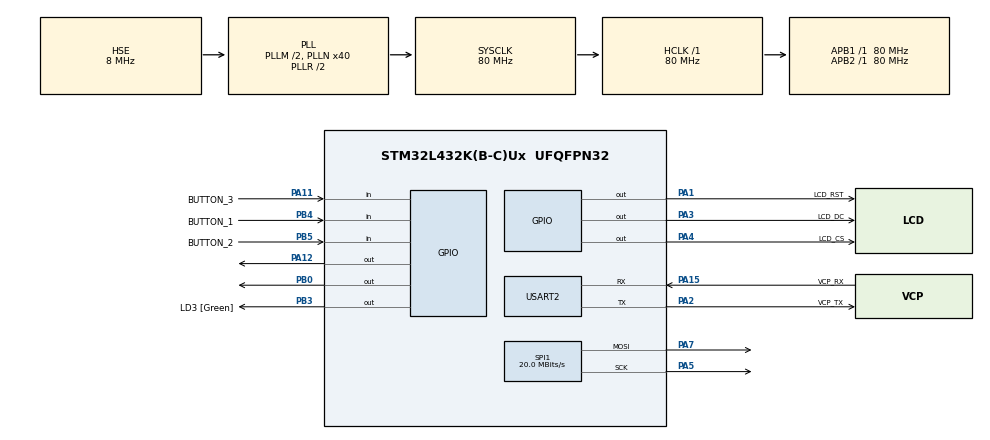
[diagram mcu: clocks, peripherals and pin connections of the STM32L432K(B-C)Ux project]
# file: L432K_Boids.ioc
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Dma.Request0=SPI1_TX
Dma.SPI1_TX.0.Direction=DMA_MEMORY_TO_PERIPH
Dma.SPI1_TX.0.Instance=DMA1_Channel3
Dma.SPI1_TX.0.MemDataAlignment=DMA_MDATAALIGN_BYTE
Dma.SPI1_TX.0.MemInc=DMA_MINC_ENABLE
Dma.SPI1_TX.0.Mode=DMA_NORMAL
Dma.SPI1_TX.0.PeriphDataAlignment=DMA_PDATAALIGN_BYTE
Dma.SPI1_TX.0.PeriphInc=DMA_PINC_DISABLE
Dma.SPI1_TX.0.Priority=DMA_PRIORITY_LOW
FREERTOS.Events01=sync_event,Dynamic,NULL
FREERTOS.INCLUDE_pcTaskGetTaskName=1
FREERTOS.INCLUDE_uxTaskGetStackHighWaterMark=1
FREERTOS.INCLUDE_uxTaskGetStackHighWaterMark2=1
FREERTOS.INCLUDE_xSemaphoreGetMutexHolder=1
FREERTOS.INCLUDE_xTaskAbortDelay=1
FREERTOS.INCLUDE_xTaskGetHandle=1
FREERTOS.Mutexes01=mutex_spi1,Dynamic,NULL,Depleted
FREERTOS.Tasks01=mainTask,24,256,main_task,Default,NULL,Dynamic,NULL,NULL
FREERTOS.Timers01=timer_mainTask,timer_callback,osTimerPeriodic,Default,&timer_mainTaskHandle,Dynamic,NULL
FREERTOS.configCHECK_FOR_STACK_OVERFLOW=0
FREERTOS.configENABLE_BACKWARD_COMPATIBILITY=0
FREERTOS.configENABLE_FPU=1
FREERTOS.configGENERATE_RUN_TIME_STATS=0
FREERTOS.configMAX_PRIORITIES=56
FREERTOS.configMAX_TASK_NAME_LEN=16
FREERTOS.configMINIMAL_STACK_SIZE=128
FREERTOS.configRECORD_STACK_HIGH_ADDRESS=1
FREERTOS.configTIMER_TASK_PRIORITY=32
FREERTOS.configTIMER_TASK_STACK_DEPTH=128
FREERTOS.configTOTAL_HEAP_SIZE=1536
FREERTOS.configUSE_NEWLIB_REENTRANT=1
FREERTOS.configUSE_OS2_THREAD_ENUMERATE=0
FREERTOS.configUSE_STATS_FORMATTING_FUNCTIONS=0
FREERTOS.configUSE_TRACE_FACILITY=0
Mcu.Family=STM32L4
Mcu.Name=STM32L432K(B-C)Ux
Mcu.Package=UFQFPN32
NVIC.DMA1_Channel3_IRQn=true\:5\:0\:false\:false\:true\:true\:true\:true\:true
NVIC.PriorityGroup=NVIC_PRIORITYGROUP_4
NVIC.TIM1_UP_TIM16_IRQn=true\:5\:0\:false\:false\:true\:false\:true\:true\:true
NVIC.TimeBase=TIM1_UP_TIM16_IRQn
NVIC.TimeBaseIP=TIM1
PA0.Mode=HSE-External-Clock-Source-for-LittleOrca
PA0.Signal=RCC_CK_IN
PA1.GPIO_Label=LCD_RST
PA1.Signal=GPIO_Output
PA11.GPIO_Label=BUTTON_3
PA11.GPIO_PuPd=GPIO_PULLUP
PA11.Signal=GPIO_Input
PA12.Signal=GPIO_Output
PA13\ (JTMS-SWDIO).GPIO_Label=SWDIO
PA13\ (JTMS-SWDIO).Mode=Serial_Wire
PA13\ (JTMS-SWDIO).Signal=SYS_JTMS-SWDIO
PA14\ (JTCK-SWCLK).GPIO_Label=SWCLK
PA14\ (JTCK-SWCLK).Mode=Serial_Wire
PA14\ (JTCK-SWCLK).Signal=SYS_JTCK-SWCLK
PA15\ (JTDI).GPIO_Label=VCP_RX
PA15\ (JTDI).Mode=Asynchronous
PA15\ (JTDI).Signal=USART2_RX
PA2.GPIO_Label=VCP_TX
PA2.Mode=Asynchronous
PA2.Signal=USART2_TX
PA3.GPIO_Label=LCD_DC
PA3.GPIO_Speed=GPIO_SPEED_FREQ_VERY_HIGH
PA3.PinState=GPIO_PIN_SET
PA3.Signal=GPIO_Output
PA4.GPIO_Label=LCD_CS
PA4.GPIO_Speed=GPIO_SPEED_FREQ_VERY_HIGH
PA4.PinState=GPIO_PIN_SET
PA4.Signal=GPIO_Output
PA5.Mode=TX_Only_Simplex_Unidirect_Master
PA5.Signal=SPI1_SCK
PA7.Mode=TX_Only_Simplex_Unidirect_Master
PA7.Signal=SPI1_MOSI
PB0.GPIO_ModeDefaultOutputPP=GPIO_MODE_OUTPUT_PP
PB0.GPIO_PuPd=GPIO_NOPULL
PB0.GPIO_Speed=GPIO_SPEED_FREQ_HIGH
PB0.Signal=GPIO_Output
PB3\ (JTDO-TRACESWO).GPIO_Label=LD3 [Green]
PB3\ (JTDO-TRACESWO).Signal=GPIO_Output
PB4\ (NJTRST).GPIO_Label=BUTTON_1
PB4\ (NJTRST).GPIO_PuPd=GPIO_PULLUP
PB4\ (NJTRST).Signal=GPIO_Input
PB5.GPIO_Label=BUTTON_2
PB5.GPIO_PuPd=GPIO_PULLUP
PB5.Signal=GPIO_Input
PC14-OSC32_IN\ (PC14).Mode=LSE-External-Oscillator
PC14-OSC32_IN\ (PC14).Signal=RCC_OSC32_IN
PC15-OSC32_OUT\ (PC15).Mode=LSE-External-Oscillator
PC15-OSC32_OUT\ (PC15).Signal=RCC_OSC32_OUT
ProjectManager.HeapSize=0x200
ProjectManager.StackSize=0x400
ProjectManager.TargetToolchain=STM32CubeIDE
RCC.ADCFreq_Value=31333333.333333332
RCC.AHBFreq_Value=80000000
RCC.APB1Freq_Value=80000000
RCC.APB1TimFreq_Value=80000000
RCC.APB2Freq_Value=80000000
RCC.APB2TimFreq_Value=80000000
RCC.CortexFreq_Value=80000000
RCC.FLatency-AdvancedSettings=FLASH_LATENCY_4
RCC.HCLKFreq_Value=80000000
RCC.HSE_VALUE=8000000
RCC.HSI16_VALUE=16000000
RCC.HSI48_VALUE=48000000
RCC.HSI_VALUE=16000000
RCC.MSI_VALUE=4000000
RCC.PLLM=2
RCC.PLLMUL=RCC_PLLMUL_4
RCC.PLLN=40
RCC.PLLSAI1N=47
RCC.PLLSAI1Q=RCC_PLLQ_DIV4
RCC.PLLSAI1R=RCC_PLLR_DIV6
RCC.PLLSourceVirtual=RCC_PLLSOURCE_HSE
RCC.SYSCLKFreq_VALUE=80000000
RCC.SYSCLKSource=RCC_SYSCLKSOURCE_PLLCLK
RCC.USBFreq_Value=47000000
RCC.VCOOutputFreq_Value=160000000
SPI1.BaudRatePrescaler=SPI_BAUDRATEPRESCALER_4
SPI1.CalculateBaudRate=20.0 MBits/s
SPI1.DataSize=SPI_DATASIZE_8BIT
SPI1.Direction=SPI_DIRECTION_2LINES
SPI1.Mode=SPI_MODE_MASTER
SPI1.NSSPMode=SPI_NSS_PULSE_DISABLE
SPI1.VirtualType=VM_MASTER
TIM7.AutoReloadPreload=TIM_AUTORELOAD_PRELOAD_ENABLE
TIM7.Period=65535
TIM7.Prescaler=79
USART2.VirtualMode-Asynchronous=VM_ASYNC
VP_FREERTOS_VS_CMSIS_V2.Mode=CMSIS_V2
VP_RNG_VS_RNG.Mode=RNG_Activate
VP_SYS_VS_tim1.Mode=TIM1
VP_TIM7_VS_ClockSourceINT.Mode=Enable_Timer
board=NUCLEO-L432KC

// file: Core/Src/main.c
/* USER CODE BEGIN Header */
/**
  ******************************************************************************
  * @file           : main.c
  * @brief          : Main program body
  ******************************************************************************
  * @attention
  *
  * Copyright (c) 2025 STMicroelectronics.
  * All rights reserved.
  *
  * This software is licensed under terms that can be found in the LICENSE file
  * in the root directory of this software component.
  * If no LICENSE file comes with this software, it is provided AS-IS.
  *
  ******************************************************************************
  */
/* USER CODE END Header */
#include "main.h"
#include "cmsis_os.h"
#include "dma.h"
#include "rng.h"
#include "spi.h"
#include "tim.h"
#include "usart.h"
#include "gpio.h"

void SystemClock_Config(void);
void MX_FREERTOS_Init(void);

int main(void)
{

  /* MCU Configuration--------------------------------------------------------*/

  /* Reset of all peripherals, Initializes the Flash interface and the Systick. */
  HAL_Init();

  /* Configure the system clock */
  SystemClock_Config();

  /* Initialize all configured peripherals */
  MX_GPIO_Init();
  MX_DMA_Init();
  MX_USART2_UART_Init();
  MX_SPI1_Init();
  MX_RNG_Init();
  MX_TIM7_Init();
  /* USER CODE BEGIN 2 */

#if _TestBoids
  extern uint32_t TestBoids(void);
  TestBoids();
#endif

  /* USER CODE END 2 */

  /* Init scheduler */
  osKernelInitialize();

  /* Call init function for freertos objects (in cmsis_os2.c) */
  MX_FREERTOS_Init();

  /* Start scheduler */
  osKernelStart();

  /* We should never get here as control is now taken by the scheduler */

  /* Infinite loop */
  while (1)
  {

  }
}

void SystemClock_Config(void)
{
  RCC_OscInitTypeDef RCC_OscInitStruct = {0};
  RCC_ClkInitTypeDef RCC_ClkInitStruct = {0};

  /** Configure the main internal regulator output voltage
  */
  if (HAL_PWREx_ControlVoltageScaling(PWR_REGULATOR_VOLTAGE_SCALE1) != HAL_OK)
  {
    Error_Handler();
  }

  /** Initializes the RCC Oscillators according to the specified parameters
  * in the RCC_OscInitTypeDef structure.
  */
  RCC_OscInitStruct.OscillatorType = RCC_OSCILLATORTYPE_HSE;
  RCC_OscInitStruct.HSEState = RCC_HSE_BYPASS;
  RCC_OscInitStruct.PLL.PLLState = RCC_PLL_ON;
  RCC_OscInitStruct.PLL.PLLSource = RCC_PLLSOURCE_HSE;
  RCC_OscInitStruct.PLL.PLLM = 2;
  RCC_OscInitStruct.PLL.PLLN = 40;
  RCC_OscInitStruct.PLL.PLLP = RCC_PLLP_DIV7;
  RCC_OscInitStruct.PLL.PLLQ = RCC_PLLQ_DIV2;
  RCC_OscInitStruct.PLL.PLLR = RCC_PLLR_DIV2;
  if (HAL_RCC_OscConfig(&RCC_OscInitStruct) != HAL_OK)
  {
    Error_Handler();
  }

  /** Initializes the CPU, AHB and APB buses clocks
  */
  RCC_ClkInitStruct.ClockType = RCC_CLOCKTYPE_HCLK|RCC_CLOCKTYPE_SYSCLK
                              |RCC_CLOCKTYPE_PCLK1|RCC_CLOCKTYPE_PCLK2;
  RCC_ClkInitStruct.SYSCLKSource = RCC_SYSCLKSOURCE_PLLCLK;
  RCC_ClkInitStruct.AHBCLKDivider = RCC_SYSCLK_DIV1;
  RCC_ClkInitStruct.APB1CLKDivider = RCC_HCLK_DIV1;
  RCC_ClkInitStruct.APB2CLKDivider = RCC_HCLK_DIV1;

  if (HAL_RCC_ClockConfig(&RCC_ClkInitStruct, FLASH_LATENCY_4) != HAL_OK)
  {
    Error_Handler();
  }
}

void HAL_TIM_PeriodElapsedCallback(TIM_HandleTypeDef *htim)
{
  if (htim->Instance == TIM1)
  {
    HAL_IncTick();
  }
}

void Error_Handler(void)
{
  __disable_irq();
  while (1)
  {
  }
}

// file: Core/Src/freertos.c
/* USER CODE BEGIN Header */
/**
  ******************************************************************************
  * File Name          : freertos.c
  * Description        : Code for freertos applications
  ******************************************************************************
  * @attention
  *
  * Copyright (c) 2024 STMicroelectronics.
  * All rights reserved.
  *
  * This software is licensed under terms that can be found in the LICENSE file
  * in the root directory of this software component.
  * If no LICENSE file comes with this software, it is provided AS-IS.
  *
  ******************************************************************************
  */
/* USER CODE END Header */

#include "FreeRTOS.h"
#include "task.h"
#include "main.h"
#include "cmsis_os.h"

/* USER CODE BEGIN Includes */
#include <stdio.h>
#include <stdlib.h>
#include <string.h>
#include <stdbool.h>
#include <ctype.h>
#include <time.h>
#include <math.h>

#include "spi.h"
#include "../lcd/lcd.h"
#include "../fonts/fonts.h"

/* USER CODE END Includes */

/* USER CODE BEGIN PTD */

typedef float float32_t;

typedef struct
{
	float32_t	x;
	float32_t	y;
} fVector;
typedef struct
{
	uint8_t		x;
	uint8_t		y;
} bVector;
typedef struct
{
	int32_t		x;
	int32_t		y;
} iVector;

//#define pos_new	pos_old
//#define vel_new vel_old
typedef struct
{
	fVector		pos_old;
	fVector		pos_new;
	fVector		vel_old;
	fVector		vel_new;

	bVector		disp;

	uint16_t	color;
} Boid;

/* USER CODE END PTD */

/* USER CODE BEGIN PD */
extern RNG_HandleTypeDef hrng;

#define _NumBoids	170
#define _ShowStats	1
#define _TestBoids2	0

char TestResult[80];

extern UART_HandleTypeDef huart2;
void UART_SendStr(char *string) {
	HAL_UART_Transmit(&huart2, (uint8_t *) string, (uint16_t) strlen(string), 200);
}

/* USER CODE END PD */

/* USER CODE BEGIN Variables */
extern uint8_t * _gl_cpCurrentFrameBuffer;

Boid boids[ _NumBoids ];
uint16_t visible_boids;

/* USER CODE END Variables */
/* Definitions for mainTask */
osThreadId_t mainTaskHandle;
const osThreadAttr_t mainTask_attributes = {
  .name = "mainTask",
  .stack_size = 256 * 4,
  .priority = (osPriority_t) osPriorityNormal,
};
/* Definitions for timer_mainTask */
osTimerId_t timer_mainTaskHandle;
const osTimerAttr_t timer_mainTask_attributes = {
  .name = "timer_mainTask"
};
/* Definitions for mutex_spi1 */
osMutexId_t mutex_spi1Handle;
const osMutexAttr_t mutex_spi1_attributes = {
  .name = "mutex_spi1"
};
/* Definitions for sync_event */
osEventFlagsId_t sync_eventHandle;
const osEventFlagsAttr_t sync_event_attributes = {
  .name = "sync_event"
};

/* USER CODE BEGIN FunctionPrototypes */
void doclear( void *dst, uint8_t val, uint16_t len );
void memset_16( void *dst, uint16_t val, uint16_t len );
void memmove_w( void *dst, void *src, uint16_t len );

void InitBoids( void );
void MoveBoids( void );
void DrawBoids( void );

void LCD_Callback( uint32_t arg );

void requestSPI(uint8_t fastSPI);
void releaseSPI(void);

/* USER CODE END FunctionPrototypes */

void main_task(void *argument);
void timer_callback(void *argument);

void MX_FREERTOS_Init(void); /* (MISRA C 2004 rule 8.1) */

void MX_FREERTOS_Init(void) {
  /* Create the mutex(es) */
  /* creation of mutex_spi1 */
  mutex_spi1Handle = osMutexNew(&mutex_spi1_attributes);

  /* Create the timer(s) */
  /* creation of timer_mainTask */
  timer_mainTaskHandle = osTimerNew(timer_callback, osTimerPeriodic, (void*) &timer_mainTaskHandle, &timer_mainTask_attributes);

  /* USER CODE BEGIN RTOS_TIMERS */
  /* start timers, add new ones, ... */
  osTimerStart( timer_mainTaskHandle, 15 );
  /* USER CODE END RTOS_TIMERS */

  /* Create the thread(s) */
  /* creation of mainTask */
  mainTaskHandle = osThreadNew(main_task, NULL, &mainTask_attributes);

  /* creation of sync_event */
  sync_eventHandle = osEventFlagsNew(&sync_event_attributes);

}

void main_task(void *argument)
{
  /* USER CODE BEGIN main_task */

	requestSPI( 1 );

	LCD_Init( LCD_Callback, _LCDDriver_SSD1351 );
	_gl_iInitialize();
	LCD_EnableUpdates();

	releaseSPI();

	uint32_t passes = 0;
	uint64_t totalTicks=0;
	uint16_t minTicks=0xFFFF, maxTicks=0;
	TickType_t curTick, lastTick, elapsedTicks;
	char buff[20];
	char tbuff[12];

	extern TIM_HandleTypeDef htim7;

	uint32_t display_timeout = 0;
	bool display_on = true;

	elapsedTicks = 0;
	curTick = lastTick = osKernelGetTickCount();

	htim7.Instance->CNT = 0;
	htim7.Instance->CR1 |= 1;
	htim7.Instance->CR1 &= ~1;
	htim7.Instance->CR1 &= ~1;
	htim7.Instance->CNT = 0;
	htim7.Instance->CNT = 0;

	// first, make sure the event is cleared, then wait one more time for it to set again
	// (hitting immediately would be OK, but I don't want to)
	osEventFlagsWait( sync_eventHandle, EVENT_FLAG_MAIN_TASK_TIMER_HIT, osFlagsWaitAll, osWaitForever );
	osEventFlagsWait( sync_eventHandle, EVENT_FLAG_MAIN_TASK_TIMER_HIT, osFlagsWaitAll, osWaitForever );

	InitBoids();

	/* Infinite loop */
	for(;;)
	{
		uint32_t flags = osEventFlagsWait( sync_eventHandle, EVENT_FLAG_MAIN_TASK_TIMER_HIT, osFlagsWaitAny, 100 );

		if ( !(flags & EVENT_FLAG_MAIN_TASK_TIMER_HIT) )
		{
			continue;
		}

		_GPIO_Pin_HI(GPIOB, GPIO_PIN_3);				// PB3 to time the display

		LCD_WriteFrameBuffer();

		_GPIO_Pin_HI(GPIOA, GPIO_PIN_12);			// PA12 to time the math

#if _TestBoids2
		TickType_t tb2t1 = osKernelGetTickCount();
#endif

		htim7.Instance->CNT = 0;
		htim7.Instance->CR1 |= 1;

		// update boid positions while DMA is busy sending frame buffer to display
		// we have *lots* of time here (~13.1 milliseconds)
		MoveBoids();

		htim7.Instance->CR1 &= ~1;
		uint32_t elapsedMicroseconds = htim7.Instance->CNT;

#if _TestBoids2
		TickType_t tb2t2 = osKernelGetTickCount();
#endif

		_GPIO_Pin_LO(GPIOA, GPIO_PIN_12);			// PA12 to time the math

		// wait for frame buffer write to be done (DMA complete interrupt/event)
		do
		{
			flags = osEventFlagsWait( sync_eventHandle, EVENT_FLAG_LCD_DMA_COMPLETE, osFlagsWaitAll, 100 );
		}
		while ( !(flags & EVENT_FLAG_LCD_DMA_COMPLETE) );

		_GPIO_Pin_LO(GPIOB, GPIO_PIN_3);			// PB3 to time the display

#if _ShowStats
		// erase the stats text
		_gl_iSetColor( GL_BLACK );
		_gl_iFilledRectangleXY(0,0,GL_PixelsX-1,7);
		_gl_iFilledRectangleXY(0,GL_PixelsY-8,GL_PixelsX-1,GL_PixelsY-1);
#endif

		// now that the display isn't busy (and won't be for about 1.8 milliseconds),
		// go update the frame buffer:
		//   * clear old boid pix
		//   * set new boid pix
		_GPIO_Pin_HI(GPIOB, GPIO_PIN_0);				// PB0 to time the drawing
		DrawBoids();
		_GPIO_Pin_LO(GPIOB, GPIO_PIN_0);			// PB0 to time the drawing

#if _ShowStats
		// write some "math time" text
		uint16_t thisTicks = (uint16_t)elapsedMicroseconds;
		if ( thisTicks < minTicks )	minTicks = thisTicks;
		if ( thisTicks > maxTicks ) maxTicks = thisTicks;
		totalTicks += thisTicks;
		passes++;
		uint16_t avgTicks = (uint16_t)(uint32_t)((float32_t)totalTicks / (float32_t)passes + 0.5f);

		sprintf( buff, "%d", minTicks );
		_gl_DrawString(  0, 0, buff, &FONT_FixedSys_8x8, GL_GREEN, GL_GREEN );

		sprintf( buff, "%d", avgTicks );
		uint8_t strx = _gl_StringWidth( buff, &FONT_FixedSys_8x8 );
		_gl_DrawString( (GL_PixelsX-strx)/2, 0, buff, &FONT_FixedSys_8x8, GL_YELLOW, GL_YELLOW );

		sprintf( buff, "%d", maxTicks );
		strx = _gl_StringWidth( buff, &FONT_FixedSys_8x8 );
		_gl_DrawString( (GL_PixelsX-strx), 0, buff, &FONT_FixedSys_8x8, GL_RED, GL_RED );

#if _TestBoids2
		sprintf( buff, "%3d", (uint8_t)(tb2t2 - tb2t1) );
#else
		sprintf( buff, "%3d", visible_boids );
#endif
		_gl_DrawString( 0, GL_PixelsY-8, buff, &FONT_FixedSys_8x8, GL_BLUE, GL_BLUE );

		curTick = osKernelGetTickCount();
		elapsedTicks += curTick - lastTick;

		if ( display_on )
			display_timeout += curTick - lastTick;

		lastTick = curTick;
		static uint8_t lastSS = 0xFF;
		uint8_t SS, MM;
		uint16_t HH;
		uint32_t secs = elapsedTicks / 1000;
		HH = secs / 3600;
		MM = (secs % 3600) / 60;
		SS = secs % 60;
		if ( SS != lastSS )
		{
			lastSS = SS;
			sprintf( tbuff, "%4d:%02d:%02d", HH, MM, SS );
		}
		_gl_DrawString( GL_PixelsX-80, GL_PixelsY-8, tbuff, &FONT_FixedSys_8x8, GL_BLUE, GL_BLUE );
#endif

		GPIO_PinState btn3 = HAL_GPIO_ReadPin( BUTTON_1_GPIO_Port, BUTTON_1_Pin );
		if ( display_on && display_timeout >= 60000 )
		{
			LCD_DisplayOff();
			display_on = false;
		}
		else
		if ( !display_on && btn3 == GPIO_PIN_RESET )
		{
			LCD_DisplayOn();
			display_on = true;
			display_timeout = 0;
		}

		// force display update
		LCD_SetBandMask( 0x1 );

#if _TestBoids2
		InitBoids();
#endif
	}

  /* USER CODE END main_task */
}

/* timer_callback function */
void timer_callback(void *argument)
{
  /* USER CODE BEGIN timer_callback */
	osTimerId_t *timerHandle = (osTimerId_t *)argument;

	if ( *timerHandle == timer_mainTaskHandle )
	{
		osEventFlagsSet( sync_eventHandle, EVENT_FLAG_MAIN_TASK_TIMER_HIT );
	}
  /* USER CODE END timer_callback */
}

/* USER CODE BEGIN Application */

#if _TestBoids
volatile bool LCD_TestDMADone;
#endif
void LCD_Callback( uint32_t arg )
{
	if ( arg == LCD_CallbackReason_DMAComplete )
	{
		#if _TestBoids
		LCD_TestDMADone = 1;
		#else
		osEventFlagsSet( sync_eventHandle, EVENT_FLAG_LCD_DMA_COMPLETE );
		#endif
	}
}

void requestSPI(uint8_t fastSPI)
{
	// defaults to 'fast' (20Mbps) in .IOC file
	static uint8_t prevFast = 1;

	osMutexAcquire( mutex_spi1Handle, osWaitForever );

	if ( fastSPI != prevFast )
	{
		// choose SPI clock rate:
		//   * 10 Mbps for nRF24L01 radio & clock rate of 10MHz
		//   * 20 Mbps for SSD1351 LCD controller @ 20MHz (max = 25MHz)
		hspi1.Instance->CR1 = ((hspi1.Instance->CR1 & ~(SPI_CR1_BR_Msk)) |
				(fastSPI ? SPI_BAUDRATEPRESCALER_4 : SPI_BAUDRATEPRESCALER_16) );

		prevFast = fastSPI;
	}
}
void releaseSPI(void)
{
	osMutexRelease( mutex_spi1Handle );
}
volatile uint16_t BreakCounter = 0;
void BreakHere( void )
{
	BreakCounter++;
}

void doclear( void *dst, uint8_t val, uint16_t len )
{
	uint32_t *ptr_w = dst;
	uint16_t len_w = len / 4;
	// make a 32-bit version of the value
	uint32_t val_w =
			((uint32_t)val << 24) |
			((uint32_t)val << 16) |
			((uint32_t)val <<  8) |
			((uint32_t)val <<  0);

	while ( len_w-- )
	{
		*ptr_w++ = val_w;
	}
}
void memset_16( void *dst, uint16_t val, uint16_t len )
{
	uint32_t *ptr_w = dst;
	uint16_t len_w = len / 2;
	// make a 32-bit version of the value
	uint32_t val_w =
			((uint32_t)val << 16) |
			((uint32_t)val <<  0);

	while ( len_w-- )
	{
		*ptr_w++ = val_w;
	}
}
void memmove_w( void *dst, void *src, uint16_t len )
{
	uint32_t *dst_w = dst;
	uint32_t *src_w = src;
	uint16_t len_w = len / 4;

	while ( len_w-- )
	{
		*dst_w++ = *src_w++;
	}
}

// initialized data (vs. const) so they're in fast(er) RAM instead of FLASH
#if _TestBoids || _TestBoids2
const float32_t margin = 1.0f;
const float32_t attractrange = 10000.0f;
const float32_t avoidrange = 0.1f;
const float32_t maxspeed = 0.00001f;
const float32_t minspeed = 0.0001f;
#else
const float32_t margin = 100.0f;
const uint32_t attractrange = 60;
const uint32_t avoidrange = 8;
const float32_t maxspeed = 7.5f;
const float32_t minspeed = 3.0f;
#endif

const fVector Window = { -400.0f, 400.0f };	// visible window coord limit
const float32_t turnfactor = 0.22f;

const float32_t attractrange_squared = (attractrange * attractrange);
const float32_t avoidrange_squared = (avoidrange * avoidrange);

const float32_t centeringfactor = 0.0005f;
const float32_t avoidfactor = 0.05f;
const float32_t matchingfactor = 0.05f;

const float32_t maxbias = 0.1f;//0.01f;
const float32_t bias_increment = 0.00004f;
const float32_t biasval_1 = 0.001f, biasval_2 = 0.001;

inline uint32_t hrand(void) { return HAL_RNG_GetRandomNumber(&hrng) & RAND_MAX; }
inline uint16_t swapBE( uint16_t val ) { return ((val & 0x00FF) << 8) | ((val & 0xFF00) >> 8); }
#define VectorAdd( a1, a2, s ) { s.x=a1.x+a2.x; s.y=a1.y+a2.y; }
#define VectorSub( s1, s2, d ) { d.x=s1.x-s2.x; d.y=s1.y-s2.y; }
#define VectorDiv( dd, dr, q ) { q.x=dd.x/dr; q.y=dd.y/dr; }

__attribute__((always_inline)) static inline void vsqrt_f32( const float32_t in, float32_t *out )
{
    __ASM( "VSQRT.F32	%[result], %[input]"
    			: [result]"=t" (*out)
				: [input]"t" (in)
    	);
}
__attribute__((always_inline)) static inline void vabs_f32( const float32_t in, float32_t *out )
{
    __ASM( "VABS.F32	%[result], %[input]"
    			: [result]"=t" (*out)
				: [input]"t" (in)
		);
}
__attribute__((always_inline)) static inline void vcvt_f32_u32( const float32_t in, uint32_t *out )
{
    __ASM(	"VCVT.U32.F32	%[result], %[input]"
    			: [result]"=t" (*out)
				: [input]"t" (in)
		);
}
__attribute__((always_inline)) static inline void sum_squares_f32( const float32_t in1, const float32_t in2, float32_t *out )
{
	float32_t tmp;

	__ASM(	"VMUL.F32	%[result], %[inp1], %[inp2]"
    		: [result]"=t" (*out)
    		: [inp1]"t"(in1), [inp2]"t"(in1) );

	__ASM(	"VMUL.F32	%[result], %[inp1], %[inp2]"
    		: [result]"=t" (tmp)
    		: [inp1]"t"(in2), [inp2]"t"(in2) );

	__ASM(	"VADD.F32	%[result], %[inp1], %[inp2]"
    		: [result]"=t" (*out)
    		: [inp1]"t"(*out), [inp2]"t"(tmp) );
}
void InitBoids( void )
{
	uint16_t i;

	for ( i=0; i<_NumBoids; i++ )
	{
#define _SingleRed	1

#if !_SingleRed
		switch ( i % 4 )
		{
		default:
		case 0:	// upper left
			boids[i].color = swapBE( GL_RED );
			break;
		case 1:	// upper right
			boids[i].color = swapBE( GL_GREEN );
			break;
		case 2:	// lower left
			boids[i].color = swapBE( GL_BLUE );
			break;
		case 3:	// lower right
			boids[i].color = swapBE( GL_YELLOW );
			break;
		}
#else
		boids[i].color = GL_WHITE;
#endif

#if _TestBoids || _TestBoids2
		boids[i].vel_old.x = 1000.0f;
		boids[i].vel_old.y = 1000.0f;
		boids[i].pos_old.x = 400.0f + (float32_t)i;
		boids[i].pos_old.y = 400.0f + (float32_t)i;
#else
		// first, give them all random positions within the Window area
		float32_t random_x = ((float32_t)hrand() / (float32_t)RAND_MAX) * (Window.y - Window.x);
		float32_t random_y = ((float32_t)hrand() / (float32_t)RAND_MAX) * (Window.y - Window.x);
		boids[i].pos_old.x = Window.x + random_x;
		boids[i].pos_old.y = Window.x + random_y;
		boids[i].disp.x = 128;

		// now give them all random velocities
		boids[i].vel_old.x = ((float32_t)hrand() / (float32_t)RAND_MAX) * (maxspeed - minspeed) + minspeed * ((hrand() % 2) ? 1.0f : -1.0f);
		boids[i].vel_old.y = ((float32_t)hrand() / (float32_t)RAND_MAX) * (maxspeed - minspeed) + minspeed * ((hrand() % 2) ? 1.0f : -1.0f);
		// make sure we're not going too fast
		float32_t speed_squared = boids[i].vel_old.x * boids[i].vel_old.x + boids[i].vel_old.y * boids[i].vel_old.x;
		float32_t speed = sqrtf( speed_squared );
		if ( speed > maxspeed )
		{
			boids[i].vel_old.x = (boids[i].vel_old.x / speed) * maxspeed;
			boids[i].vel_old.y = (boids[i].vel_old.y / speed) * maxspeed;
		}
#endif
	}

#if _SingleRed
	boids[i-1].color = swapBE( GL_RED );
#endif
}
void DrawBoids( void )
{
	uint16_t i;
	Boid *p;

	// first, erase all the old boid pixels
	for ( p = boids, i=0; i<_NumBoids; p++, i++ )
	{
		if ( !(0x80 & (p->disp.x | p->disp.y)) )
		{
			*((uint16_t *)_gl_cpCurrentFrameBuffer + p->disp.y * GL_PixelsX + p->disp.x) = GL_BLACK;
		}
	}

	visible_boids = 0;

	// re-draw the boid pixels and save the coords
	for ( p = boids, i=0; i<_NumBoids; p++, i++ )
	{
		// scale Window to 0 - GL_PixelsX/Y
		// ("outside display bounds" handled in draw code)
		p->disp.x = (uint8_t)(0xFF & (int32_t)(((p->pos_new.x - Window.x) * (float32_t)(GL_PixelsX - 1)) / (Window.y - Window.x)));
		p->disp.y = (uint8_t)(0xFF & (int32_t)(((p->pos_new.y - Window.x) * (float32_t)(GL_PixelsY - 1)) / (Window.y - Window.x)));

		if ( !(0x80 & (p->disp.x | p->disp.y)) )
		{
			*((uint16_t *)_gl_cpCurrentFrameBuffer + p->disp.y * GL_PixelsX + p->disp.x) = p->color;

			visible_boids++;
		}

		// copy new to old here so that they'll all be ready on the next Move call
		p->pos_old = p->pos_new;
		p->vel_old = p->vel_new;
	}
}

void MoveBoids( void )
{
	uint16_t i, j;
	Boid *p1, *p2;

	for ( p1=boids, i=0; i<_NumBoids; p1++, i++ )
	{
		fVector attract_avg_pos = { 0.0f, 0.0f };
		fVector attract_avg_vel = { 0.0f, 0.0f };
		fVector dist_avoids = { 0.0f, 0.0f };
		uint16_t boids_within_attract_range = 0;

		for ( p2=boids, j=0; j<_NumBoids; p2++, j++ )
		{
			if ( j != i )
			{
				// distance vector from current p1 to p2
				fVector dist;
				VectorSub( p1->pos_old, p2->pos_old, dist );

				// get square of distance for comparison
				float32_t dist_squared = (dist.x * dist.x + dist.y * dist.y);

				// comparisons done in this order so that it's "sometimes 2" vs. "always 2"
				// if within "attract" range
				if ( dist_squared < avoidrange_squared )
				{
					// sum up distances to nearby boids
					VectorAdd( dist_avoids, dist, dist_avoids )
				}
				else
				// otherwise, if within attract range
				if ( dist_squared < attractrange_squared )
				{
					// Add other (p2)  boid's x/y-coord and x/y vel to accumulator variables
					VectorAdd( attract_avg_pos, p2->pos_old, attract_avg_pos );
					VectorAdd( attract_avg_vel, p2->vel_old, attract_avg_vel );

					// Increment number of boids within attract range
					boids_within_attract_range++;
				}
			}
		}

		// copy old velocity to new so we can update new
		// (don't need to copy old position, since we'll create a new value at the end)
		p1->vel_new = p1->vel_old;

		// if any were in attract range of this boid
		// this doesn't include boids that were within the avoid range
		if ( boids_within_attract_range )
		{
			// divide acc vars by neighbor count
			VectorDiv( attract_avg_pos, (float32_t)boids_within_attract_range, attract_avg_pos );
			VectorDiv( attract_avg_vel, (float32_t)boids_within_attract_range, attract_avg_vel );

			// first, subtract this boid's position and velocity from the averages,
			// since we want deltas from this boid's values
			VectorSub( attract_avg_pos, p1->pos_old, attract_avg_pos );
			VectorSub( attract_avg_vel, p1->vel_old, attract_avg_vel );

			// now multiply/accumulate
			p1->vel_new.x += attract_avg_pos.x * centeringfactor + attract_avg_vel.x * matchingfactor;
			p1->vel_new.y += attract_avg_pos.y * centeringfactor + attract_avg_vel.y * matchingfactor;
		}

		// add avoidance contribution to velocity
		p1->vel_new.x += dist_avoids.x * avoidfactor;
		p1->vel_new.y += dist_avoids.y * avoidfactor;

		// turn away from window boundary based on position
		if ( p1->pos_old.x < Window.x + margin )		p1->vel_new.x += turnfactor;
		else
		if ( p1->pos_old.x > Window.y - margin )		p1->vel_new.x -= turnfactor;
		if ( p1->pos_old.y < Window.x + margin )		p1->vel_new.y += turnfactor;
		else
		if ( p1->pos_old.y > Window.y - margin )		p1->vel_new.y -= turnfactor;

		// make sure we're not going too fast or too slow
		float32_t speed = sqrtf( p1->vel_new.x * p1->vel_new.x + p1->vel_new.y * p1->vel_new.y );
		if ( speed < minspeed )
		{
			p1->vel_new.x = (p1->vel_new.x / speed) * minspeed;
			p1->vel_new.y = (p1->vel_new.y / speed) * minspeed;
		}
		else
		if ( speed > maxspeed )
		{
			p1->vel_new.x = (p1->vel_new.x / speed) * maxspeed;
			p1->vel_new.y = (p1->vel_new.y / speed) * maxspeed;
		}

		// move the boid
		VectorAdd( p1->pos_old, p1->vel_new, p1->pos_new );
	}
}

#if _TestBoids
volatile uint64_t totalTicks=0;
volatile uint32_t minTicks=0xFFFFFFFFL, maxTicks=0L, avgmicro;

#define _MaxTestLoops	100L		// 100k loops @ 6.5ms = ~11 minutes
#define _LCDInTest		1

uint32_t TestBoids( void )
{
	extern TIM_HandleTypeDef htim7;

	// ensure TIM7 is not running and CNT is 0
	htim7.Instance->CR1 &= ~1;
	htim7.Instance->CNT = 0;
	htim7.Instance->CR1 |= 1;
	htim7.Instance->CR1 &= ~1;
	htim7.Instance->CNT = 0;

#if _LCDInTest
	requestSPI( 1 );

	LCD_Init( LCD_Callback, _LCDDriver_SSD1351 );
	_gl_iInitialize();
	LCD_EnableUpdates();

	releaseSPI();
#endif

	// don't let timer 1 run (1ms timer)
	extern TIM_HandleTypeDef htim1;
	htim1.Instance->CR1 &= ~1;

	uint32_t loops;
	for ( loops=0; loops < _MaxTestLoops; loops++ )
	{
		InitBoids();

#if _LCDInTest
		LCD_TestDMADone = false;
		_GPIO_Pin_HI(GPIOB, GPIO_PIN_3);				// PB3 to time the display
		LCD_WriteFrameBuffer();
#endif

		_GPIO_Pin_HI(GPIOB, GPIO_PIN_0);				// PB0 to time the drawing
		htim7.Instance->CNT = 0;
		htim7.Instance->CR1 |= 1;

		MoveBoids();

		htim7.Instance->CR1 &= ~1;
		uint32_t thisTicks = htim7.Instance->CNT;
		_GPIO_Pin_LO(GPIOB, GPIO_PIN_0);				// PB0 to time the drawing

		if ( thisTicks < minTicks )	minTicks = thisTicks;
		if ( thisTicks > maxTicks ) maxTicks = thisTicks;
		totalTicks += thisTicks;

#if _LCDInTest
		while ( !LCD_TestDMADone ) ;
		_GPIO_Pin_LO(GPIOB, GPIO_PIN_3);				// PB3 to time the display
		// force display update
		LCD_SetBandMask( 0x1 );
#endif
	}
	avgmicro = totalTicks / _MaxTestLoops;

#if 0
	sprintf( TestResult, "%ld %ld %ld", minTicks, maxTicks, avgmicro );

	// let timer 1 run (1ms timer)
	htim1.Instance->CR1 |= 1;
#endif
	return avgmicro;
}
#endif

/* USER CODE END Application */
